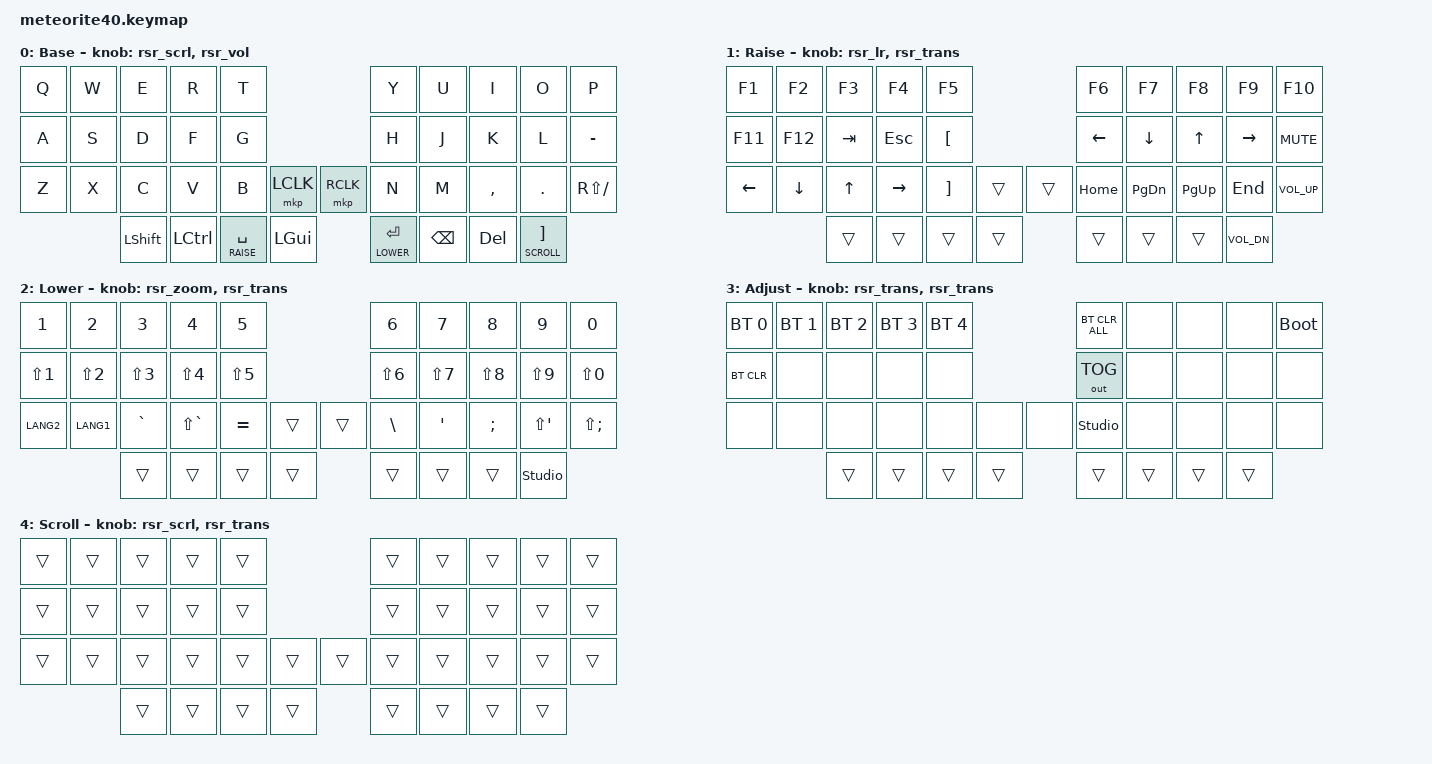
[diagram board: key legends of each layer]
#include <behaviors.dtsi>
#include <dt-bindings/zmk/bt.h>
#include <dt-bindings/zmk/keys.h>
#include <dt-bindings/zmk/outputs.h>
#include <dt-bindings/zmk/pointing.h>
#include <behaviors/runtime-sensor-rotate.dtsi>

#define BASE   0
#define RAISE  1
#define LOWER  2
#define ADJUST 3
#define SCROLL 4

&mt {
    flavor = "tap-preferred";
    tapping-term-ms = <200>;
    quick-tap-ms = <150>;
};

&lt {
    flavor = "tap-preferred";
    tapping-term-ms = <150>;
    quick-tap-ms = <150>;
};

/ {
    behaviors {
        // ロータリーエンコーダー（DYA Studioから変更可。以下は初期値）
        rsr_scrl: rsr_scrl {
            compatible = "zmk,behavior-runtime-sensor-rotate";
            #sensor-binding-cells = <0>;
            tap-ms = <20>;
            cw-binding = <&msc SCRL_DOWN>;
            ccw-binding = <&msc SCRL_UP>;
        };
        rsr_vol: rsr_vol {
            compatible = "zmk,behavior-runtime-sensor-rotate";
            #sensor-binding-cells = <0>;
            tap-ms = <5>;
            cw-binding = <&kp C_VOL_UP>;
            ccw-binding = <&kp C_VOL_DN>;
        };
        rsr_zoom: rsr_zoom {
            compatible = "zmk,behavior-runtime-sensor-rotate";
            #sensor-binding-cells = <0>;
            tap-ms = <5>;
            cw-binding = <&kp LC(EQUAL)>;
            ccw-binding = <&kp LC(MINUS)>;
        };
        rsr_lr: rsr_lr {
            compatible = "zmk,behavior-runtime-sensor-rotate";
            #sensor-binding-cells = <0>;
            tap-ms = <5>;
            cw-binding = <&kp RIGHT>;
            ccw-binding = <&kp LEFT>;
        };
    };

    conditional_layers {
        compatible = "zmk,conditional-layers";
        adjust_layer {
            if-layers = <RAISE LOWER>;
            then-layer = <ADJUST>;
        };
    };

    combos {
        compatible = "zmk,combos";

        lang1 {
            bindings = <&kp LANG1>;
            key-positions = <12 13>; /* D + F */
            layers = <BASE>;
        };

        lang2 {
            bindings = <&kp LANG2>;
            key-positions = <16 17>; /* J + K */
            layers = <BASE>;
        };

        esc {
            bindings = <&kp ESCAPE>;
            key-positions = <20 21>; /* Z + X */
            layers = <BASE>;
        };

        tab {
            bindings = <&kp TAB>;
            key-positions = <0 1>; /* Q + W */
            layers = <BASE>;
        };
    };

    keymap {
        compatible = "zmk,keymap";

        default_layer {
            display-name = "Base";
            bindings = <
&kp Q      &kp W      &kp E        &kp R      &kp T                           &kp Y      &kp U     &kp I      &kp O    &kp P
&kp A      &kp S      &kp D        &kp F      &kp G                           &kp H      &kp J     &kp K      &kp L    &kp MINUS
&kp Z      &kp X      &kp C        &kp V      &kp B      &mkp LCLK &mkp RCLK  &kp N      &kp M     &kp COMMA  &kp DOT  &kp RS(FSLH)
                      &kp LSHFT    &kp LCTRL  &lt RAISE SPACE  &kp LGUI  &lt LOWER RET  &kp BSPC  &kp DEL    &lt SCROLL RBKT
            >;

            sensor-bindings = <&rsr_scrl &rsr_vol>;
        };

        raise_layer {
            display-name = "Raise";
            bindings = <
&kp F1     &kp F2     &kp F3     &kp F4     &kp F5                      &kp F6     &kp F7     &kp F8     &kp F9     &kp F10
&kp F11    &kp F12    &kp TAB    &kp ESC    &kp LBKT                    &kp LEFT   &kp DOWN   &kp UP     &kp RIGHT  &kp C_MUTE
&kp LEFT   &kp DOWN   &kp UP     &kp RIGHT  &kp RBKT  &trans  &trans    &kp HOME   &kp PG_DN  &kp PG_UP  &kp END    &kp C_VOL_UP
                      &trans     &trans     &trans    &trans  &trans    &trans     &trans     &kp C_VOL_DN
            >;

            sensor-bindings = <&rsr_lr &rsr_trans>;
        };

        lower_layer {
            display-name = "Lower";
            bindings = <
&kp N1      &kp N2      &kp N3     &kp N4         &kp N5                        &kp N6    &kp N7    &kp N8    &kp N9       &kp N0
&kp LS(N1)  &kp LS(N2)  &kp LS(N3) &kp LS(N4)     &kp LS(N5)                    &kp LS(N6) &kp LS(N7) &kp LS(N8) &kp LS(N9) &kp LS(N0)
&kp LANG2   &kp LANG1   &kp GRAVE  &kp LS(GRAVE)  &kp EQUAL  &trans  &trans     &kp BSLH  &kp SQT   &kp SEMI  &kp LS(SQT)  &kp LS(SEMI)
                        &trans     &trans         &trans     &trans  &trans     &trans    &trans    &studio_unlock
            >;

            sensor-bindings = <&rsr_zoom &rsr_trans>;
        };

        adjust_layer {
            display-name = "Adjust";
            bindings = <
&bt BT_SEL 0  &bt BT_SEL 1  &bt BT_SEL 2  &bt BT_SEL 3  &bt BT_SEL 4                     &bt BT_CLR_ALL  &none  &none  &none  &bootloader
&bt BT_CLR    &none         &none         &none         &none                            &out OUT_TOG    &none  &none  &none  &none
&none         &none         &none         &none         &none         &none  &none       &studio_unlock  &none  &none  &none  &none
                            &trans        &trans        &trans        &trans &trans      &trans          &trans &trans
            >;

            sensor-bindings = <&rsr_trans &rsr_trans>;
        };

        scroll_layer {
            display-name = "Scroll";
            bindings = <
&trans  &trans  &trans  &trans  &trans                  &trans  &trans  &trans  &trans  &trans
&trans  &trans  &trans  &trans  &trans                  &trans  &trans  &trans  &trans  &trans
&trans  &trans  &trans  &trans  &trans  &trans  &trans  &trans  &trans  &trans  &trans  &trans
                &trans  &trans  &trans  &trans  &trans  &trans  &trans  &trans
            >;

            sensor-bindings = <&rsr_scrl &rsr_trans>;
        };
    };
};
